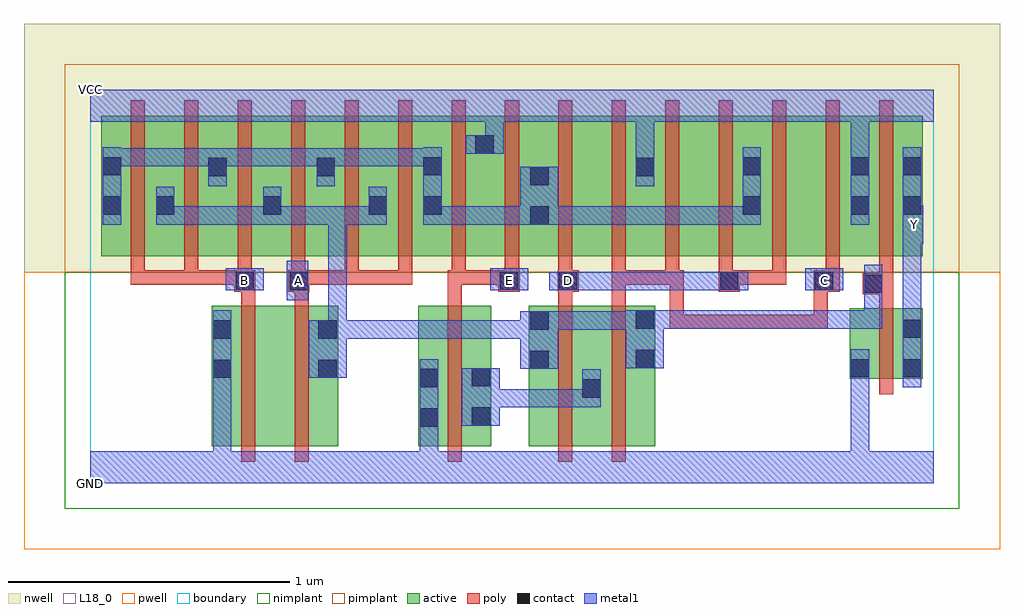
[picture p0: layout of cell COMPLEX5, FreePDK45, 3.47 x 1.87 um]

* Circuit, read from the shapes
.subckt COMPLEX5 A B C D E GND VCC Y
M1 n1 B GND VSUBS nfet w=0.5u l=0.05u
M2 n2 A n1 VSUBS nfet w=0.5u l=0.05u
M3 n3 E GND VSUBS nfet w=0.5u l=0.05u
M4 n3 D n2 VSUBS nfet w=0.5u l=0.05u
M5 n2 C n3 VSUBS nfet w=0.5u l=0.05u
M6 Y n2 GND VSUBS nfet w=0.25u l=0.05u
M7 n2 B n4 n5 pfet w=0.5u l=0.05u m=3
M8 n4 A n2 n5 pfet w=0.5u l=0.05u m=3
M9 VCC E n4 n5 pfet w=0.5u l=0.05u m=2
M10 n6 D n4 n5 pfet w=0.5u l=0.05u
M11 VCC C n6 n5 pfet w=0.5u l=0.05u
M12 n7 C VCC n5 pfet w=0.5u l=0.05u
M13 n4 D n7 n5 pfet w=0.5u l=0.05u
M14 n8 D n4 n5 pfet w=0.5u l=0.05u
M15 VCC C n8 n5 pfet w=0.5u l=0.05u
M16 Y n2 VCC n5 pfet w=0.5u l=0.05u
.ends

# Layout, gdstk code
import gdstk
lib = gdstk.Library(unit=1e-6, precision=1e-09)
def R(c, l, rs):  # rectangles x0, y0, x1, y1
    for r in rs: c.add(gdstk.rectangle(r[:2], r[2:], *l))
def A(c, l, x, y, w, h, nx, ny, dx, dy):  # array of equal rectangles
    R(c, l, [(x+i*dx, y+j*dy, x+i*dx+w, y+j*dy+h) for i in range(nx) for j in range(ny)])
active = (1, 0)
pwell = (2, 0)
nwell = (3, 0)
nimplant = (4, 0)
pimplant = (5, 0)
poly = (9, 0)
contact = (10, 0)
metal1 = (11, 0)
L18_0 = (18, 0)
boundary = (235, 0)

complex5 = lib.new_cell('COMPLEX5')
A(complex5, active, 0.8, 0.807, 0.075, 0.393, 3, 1, 0.38, 0)
R(complex5, active, [(0.432,0.132,0.657,0.632), (0.432,0.132,0.507,0.632), (0.657,0.132,0.882,0.632), (1.167,0.132,1.427,0.632), (1.56,0.132,1.82,0.632), (1.745,0.132,2.01,0.632), (1.167,0.157,1.242,0.632), (0.807,0.195,0.882,0.632), (1.352,0.195,1.427,0.632), (1.56,0.195,1.635,0.632), (1.745,0.195,1.82,0.592), (1.935,0.195,2.01,0.632), (2.7,0.372,2.775,0.622), (2.7,0.372,2.96,0.622), (2.885,0.372,2.96,0.622), (0.04,0.807,0.305,1.307), (0.04,0.807,0.115,1.2), (0.23,0.807,0.49,1.307), (0.23,0.807,0.305,1.07), (0.415,0.807,0.49,1.2), (0.415,0.807,0.685,1.307), (0.61,0.807,0.875,1.307), (0.61,0.807,0.685,1.07), (0.8,0.807,1.06,1.307), (0.985,0.807,1.255,1.307), (0.985,0.807,1.06,1.07), (1.18,0.807,1.44,1.307), (1.365,0.807,1.44,1.307), (1.365,0.807,1.635,1.307), (1.56,0.807,1.785,1.307), (1.785,0.807,2.01,1.307), (1.935,0.807,2.01,1.307), (1.935,0.807,2.165,1.307), (2.165,0.807,2.39,1.307), (2.315,0.807,2.39,1.2), (2.315,0.807,2.545,1.307), (2.545,0.807,2.775,1.307), (2.7,0.807,2.96,1.307), (2.7,0.807,2.775,1.307), (2.885,0.807,2.96,1.2)])
R(complex5, pwell, [(-0.235,-0.235,3.235,0.75)])
R(complex5, nwell, [(-0.235,0.75,3.235,1.635)])
R(complex5, nimplant, [(-0.09,-0.09,3.09,0.75)])
R(complex5, pimplant, [(-0.09,0.75,3.09,1.49)])
A(complex5, poly, 0.145, 0.707, 0.05, 0.095, 14, 1, 0.19, 0)
A(complex5, poly, 0.145, 0.752, 0.05, 0.61, 15, 1, 0.19, 0)
R(complex5, poly, [(0.537,0.077,0.587,0.687), (0.727,0.077,0.777,0.687), (1.272,0.077,1.322,0.687), (1.665,0.077,1.715,0.687), (1.855,0.077,1.905,0.687), (2.805,0.317,2.855,0.677), (2.06,0.55,2.11,0.6), (2.06,0.55,2.11,0.6), (2.06,0.55,2.11,0.6), (2.06,0.55,2.11,0.6), (2.06,0.55,2.11,0.6), (2.06,0.55,2.342,0.6), (2.06,0.55,2.11,0.757), (2.292,0.55,2.342,0.6), (2.292,0.55,2.342,0.6), (2.292,0.55,2.342,0.6), (2.292,0.55,2.475,0.6), (2.425,0.55,2.475,0.6), (2.425,0.55,2.622,0.6), (2.572,0.55,2.622,0.732), (2.572,0.55,2.622,0.6), (2.572,0.55,2.622,0.6), (2.572,0.55,2.622,0.6), (2.572,0.55,2.622,0.6), (2.572,0.55,2.622,0.6), (2.805,0.627,2.855,0.722), (0.537,0.637,0.587,0.732), (0.727,0.637,0.777,0.732), (1.272,0.637,1.322,0.757), (1.665,0.637,1.715,0.732), (1.855,0.637,1.905,0.757), (2.747,0.672,2.855,0.747), (0.512,0.682,0.587,0.757), (0.705,0.682,0.78,0.757), (1.452,0.682,1.527,0.757), (1.662,0.682,1.737,0.757), (2.235,0.682,2.31,0.757), (2.572,0.682,2.665,0.757), (2.805,0.697,2.855,0.802), (0.145,0.707,0.195,0.757), (0.145,0.707,0.195,0.757), (0.145,0.707,0.195,0.757), (0.145,0.707,0.385,0.757), (0.335,0.707,0.385,0.757), (0.335,0.707,0.385,0.757), (0.335,0.707,0.385,0.757), (0.335,0.707,0.562,0.757), (0.73,0.707,0.955,0.757), (0.905,0.707,0.955,0.757), (0.905,0.707,0.955,0.757), (0.905,0.707,0.955,0.757), (0.905,0.707,1.145,0.757), (1.095,0.707,1.145,0.757), (1.095,0.707,1.145,0.757), (1.095,0.707,1.145,0.757), (1.272,0.707,1.335,0.757), (1.285,0.707,1.335,0.757), (1.285,0.707,1.335,0.757), (1.285,0.707,1.502,0.757), (1.855,0.707,1.905,0.757), (1.855,0.707,1.905,0.757), (1.855,0.707,1.905,0.757), (1.855,0.707,2.095,0.757), (2.045,0.707,2.11,0.757), (2.26,0.707,2.31,0.757), (2.26,0.707,2.31,0.757), (2.26,0.707,2.475,0.757), (2.425,0.707,2.475,0.757)])
R(complex5, contact, [(1.172,0.202,1.237,0.267), (1.357,0.205,1.422,0.27), (1.75,0.305,1.815,0.37), (1.172,0.342,1.237,0.407), (1.357,0.345,1.422,0.41), (0.437,0.375,0.502,0.44), (0.812,0.375,0.877,0.44), (2.705,0.377,2.77,0.442), (2.89,0.377,2.955,0.442), (1.565,0.407,1.63,0.472), (1.94,0.41,2.005,0.475), (0.437,0.515,0.502,0.58), (0.812,0.515,0.877,0.58), (2.89,0.517,2.955,0.582), (1.565,0.547,1.63,0.612), (1.94,0.55,2.005,0.615), (2.752,0.677,2.817,0.742), (0.517,0.687,0.582,0.752), (0.71,0.687,0.775,0.752), (1.457,0.687,1.522,0.752), (1.667,0.687,1.732,0.752), (2.24,0.687,2.305,0.752), (2.577,0.687,2.642,0.752), (1.565,0.92,1.63,0.985), (0.045,0.955,0.11,1.02), (0.235,0.955,0.3,1.02), (0.615,0.955,0.68,1.02), (0.99,0.955,1.055,1.02), (1.185,0.955,1.25,1.02), (2.32,0.955,2.385,1.02), (2.705,0.955,2.77,1.02), (2.89,0.955,2.955,1.02), (1.565,1.06,1.63,1.125), (0.42,1.092,0.485,1.157), (0.805,1.092,0.87,1.157), (1.94,1.092,2.005,1.157), (0.045,1.095,0.11,1.16), (1.185,1.095,1.25,1.16), (2.32,1.095,2.385,1.16), (2.705,1.095,2.77,1.16), (2.89,1.095,2.955,1.16), (1.37,1.172,1.435,1.237)])
R(complex5, metal1, [(0,0,3,0.115), (0.437,0.05,0.502,0.405), (1.172,0.05,1.237,0.232), (2.705,0.05,2.77,0.407), (1.172,0.167,1.237,0.232), (1.172,0.167,1.237,0.232), (1.172,0.167,1.237,0.442), (1.322,0.205,1.457,0.41), (1.392,0.27,1.457,0.335), (1.392,0.27,1.457,0.335), (1.392,0.27,1.677,0.335), (1.612,0.27,1.677,0.335), (1.612,0.27,1.677,0.335), (1.612,0.27,1.677,0.335), (1.612,0.27,1.815,0.335), (1.75,0.27,1.815,0.405), (0.437,0.34,0.502,0.405), (0.437,0.34,0.502,0.405), (0.437,0.34,0.502,0.615), (2.705,0.342,2.77,0.407), (2.705,0.342,2.77,0.407), (2.705,0.342,2.77,0.407), (2.705,0.342,2.77,0.407), (2.705,0.342,2.77,0.407), (2.705,0.342,2.77,0.407), (2.705,0.342,2.77,0.477), (2.89,0.342,2.955,0.617), (0.777,0.375,0.912,0.58), (1.53,0.407,1.665,0.612), (1.905,0.41,2.04,0.615), (0.847,0.515,0.912,0.58), (0.847,0.515,0.912,0.58), (0.847,0.515,1.092,0.58), (0.847,0.515,0.912,0.985), (1.027,0.515,1.092,0.58), (1.027,0.515,1.092,0.58), (1.027,0.515,1.092,0.58), (1.027,0.515,1.25,0.58), (1.185,0.515,1.25,0.58), (1.185,0.515,1.25,0.58), (1.185,0.515,1.25,0.58), (1.185,0.515,1.387,0.58), (1.322,0.515,1.387,0.58), (1.322,0.515,1.387,0.58), (1.322,0.515,1.387,0.58), (1.322,0.515,1.595,0.58), (1.6,0.547,1.665,0.612), (1.6,0.547,1.665,0.612), (1.6,0.547,1.815,0.612), (1.75,0.547,1.815,0.612), (1.75,0.547,1.97,0.612), (1.905,0.547,1.97,0.612), (1.905,0.547,1.97,0.612), (1.975,0.55,2.132,0.615), (2.067,0.55,2.132,0.615), (2.067,0.55,2.177,0.615), (2.112,0.55,2.177,0.615), (2.112,0.55,2.332,0.615), (2.267,0.55,2.332,0.615), (2.267,0.55,2.332,0.615), (2.267,0.55,2.332,0.615), (2.267,0.55,2.47,0.615), (2.405,0.55,2.47,0.615), (2.405,0.55,2.632,0.615), (2.567,0.55,2.632,0.615), (2.567,0.55,2.632,0.615), (2.567,0.55,2.632,0.615), (2.567,0.55,2.817,0.615), (2.752,0.55,2.817,0.615), (2.752,0.55,2.817,0.707), (2.89,0.552,2.955,0.917), (2.752,0.642,2.817,0.707), (2.752,0.642,2.817,0.707), (2.752,0.642,2.817,0.777), (0.7,0.652,0.775,0.792), (0.482,0.687,0.617,0.765), (1.422,0.687,1.557,0.765), (1.632,0.687,1.767,0.752), (1.702,0.687,1.827,0.752), (1.762,0.687,1.827,0.752), (1.762,0.687,1.97,0.752), (1.905,0.687,1.97,0.752), (1.905,0.687,1.97,0.752), (1.905,0.687,1.97,0.752), (1.905,0.687,2.107,0.752), (2.042,0.687,2.107,0.752), (2.042,0.687,2.177,0.752), (2.112,0.687,2.177,0.752), (2.112,0.687,2.27,0.752), (2.205,0.687,2.34,0.752), (2.542,0.687,2.677,0.765), (2.89,0.852,2.962,0.987), (0.045,0.92,0.11,1.195), (0.235,0.92,0.3,0.985), (0.235,0.92,0.3,0.985), (0.235,0.92,0.3,1.055), (0.235,0.92,0.53,0.985), (0.465,0.92,0.53,0.985), (0.465,0.92,0.53,0.985), (0.465,0.92,0.53,0.985), (0.465,0.92,0.68,0.985), (0.615,0.92,0.68,0.985), (0.615,0.92,0.68,0.985), (0.615,0.92,0.68,1.055), (0.615,0.92,0.912,0.985), (0.847,0.92,0.912,0.985), (0.847,0.92,0.912,0.985), (0.847,0.92,0.912,0.985), (0.847,0.92,0.912,0.985), (0.847,0.92,0.912,0.985), (0.847,0.92,1.055,0.985), (0.99,0.92,1.055,1.055), (1.185,0.92,1.25,0.985), (1.185,0.92,1.25,0.985), (1.185,0.92,1.25,0.985), (1.185,0.92,1.25,0.985), (1.185,0.92,1.25,1.195), (1.185,0.92,1.457,0.985), (1.392,0.92,1.457,0.985), (1.392,0.92,1.457,0.985), (1.392,0.92,1.457,0.985), (1.392,0.92,1.595,0.985), (1.53,0.92,1.665,1.125), (1.6,0.92,1.665,0.985), (1.6,0.92,1.665,0.985), (1.6,0.92,1.827,0.985), (1.762,0.92,1.827,0.985), (1.762,0.92,1.965,0.985), (1.9,0.92,1.965,0.985), (1.9,0.92,1.965,0.985), (1.9,0.92,1.965,0.985), (1.9,0.92,2.132,0.985), (2.067,0.92,2.132,0.985), (2.067,0.92,2.177,0.985), (2.112,0.92,2.177,0.985), (2.112,0.92,2.332,0.985), (2.267,0.92,2.332,0.985), (2.267,0.92,2.385,0.985), (2.32,0.92,2.385,1.195), (2.705,0.92,2.77,1.195), (2.89,0.92,2.955,0.985), (2.89,0.92,2.955,1.195), (0.42,1.057,0.485,1.192), (0.805,1.057,0.87,1.192), (1.94,1.057,2.005,1.192), (0.045,1.127,0.11,1.192), (0.045,1.127,0.11,1.192), (0.045,1.127,0.247,1.192), (0.182,1.127,0.247,1.192), (0.182,1.127,0.247,1.192), (0.182,1.127,0.247,1.192), (0.182,1.127,0.485,1.192), (0.42,1.127,0.485,1.192), (0.42,1.127,0.485,1.192), (0.42,1.127,0.705,1.192), (0.64,1.127,0.705,1.192), (0.64,1.127,0.705,1.192), (0.64,1.127,0.705,1.192), (0.64,1.127,0.87,1.192), (0.805,1.127,0.955,1.192), (0.89,1.127,0.955,1.192), (0.89,1.127,1.1,1.192), (1.035,1.127,1.1,1.192), (1.035,1.127,1.1,1.192), (1.035,1.127,1.1,1.192), (1.035,1.127,1.25,1.192), (1.94,1.127,2.005,1.35), (2.705,1.13,2.77,1.35), (1.335,1.172,1.47,1.237), (1.405,1.172,1.47,1.35), (0,1.285,3,1.4)])
R(complex5, L18_0, [(0,0,3,0.115), (0.437,0.05,0.502,0.405), (1.172,0.05,1.237,0.232), (2.705,0.05,2.77,0.407), (1.172,0.167,1.237,0.232), (1.172,0.167,1.237,0.232), (1.172,0.167,1.237,0.442), (0.437,0.34,0.502,0.405), (0.437,0.34,0.502,0.405), (0.437,0.34,0.502,0.615), (2.705,0.342,2.77,0.407), (2.705,0.342,2.77,0.407), (2.705,0.342,2.77,0.407), (2.705,0.342,2.77,0.407), (2.705,0.342,2.77,0.407), (2.705,0.342,2.77,0.407), (2.705,0.342,2.77,0.477), (2.89,0.342,2.955,0.617), (2.89,0.552,2.955,0.917), (0.7,0.652,0.775,0.792), (0.482,0.687,0.617,0.765), (0.517,0.687,0.582,0.752), (0.707,0.687,0.772,0.752), (1.422,0.687,1.557,0.765), (1.457,0.687,1.522,0.752), (1.632,0.687,1.767,0.752), (1.667,0.687,1.732,0.752), (1.702,0.687,1.827,0.752), (1.762,0.687,1.827,0.752), (1.762,0.687,1.97,0.752), (1.905,0.687,1.97,0.752), (1.905,0.687,1.97,0.752), (1.905,0.687,1.97,0.752), (1.905,0.687,2.107,0.752), (2.042,0.687,2.107,0.752), (2.042,0.687,2.177,0.752), (2.112,0.687,2.177,0.752), (2.112,0.687,2.27,0.752), (2.205,0.687,2.34,0.752), (2.542,0.687,2.677,0.765), (2.577,0.687,2.642,0.752), (2.89,0.852,2.962,0.987), (2.897,0.887,2.962,0.952), (2.705,0.92,2.77,1.195), (2.89,0.92,2.955,0.985), (2.89,0.92,2.955,1.195), (1.94,1.057,2.005,1.192), (1.94,1.127,2.005,1.35), (2.705,1.13,2.77,1.35), (1.335,1.172,1.47,1.237), (1.405,1.172,1.47,1.35), (0,1.285,3,1.4)])
R(complex5, boundary, [(0,0,3,1.4)])
complex5.add(gdstk.Label('A', (0.74,0.72), layer=11, texttype=0))
complex5.add(gdstk.Label('B', (0.55,0.72), layer=11, texttype=0))
complex5.add(gdstk.Label('C', (2.61,0.72), layer=11, texttype=0))
complex5.add(gdstk.Label('D', (1.7,0.72), layer=11, texttype=0))
complex5.add(gdstk.Label('E', (1.49,0.72), layer=11, texttype=0))
complex5.add(gdstk.Label('Y', (2.93,0.92), layer=11, texttype=0))
complex5.add(gdstk.Label('VCC', (0,1.4), layer=11, texttype=0))
complex5.add(gdstk.Label('GND', (0,0), layer=11, texttype=0))

lib.write_gds('COMPLEX5.gds')
